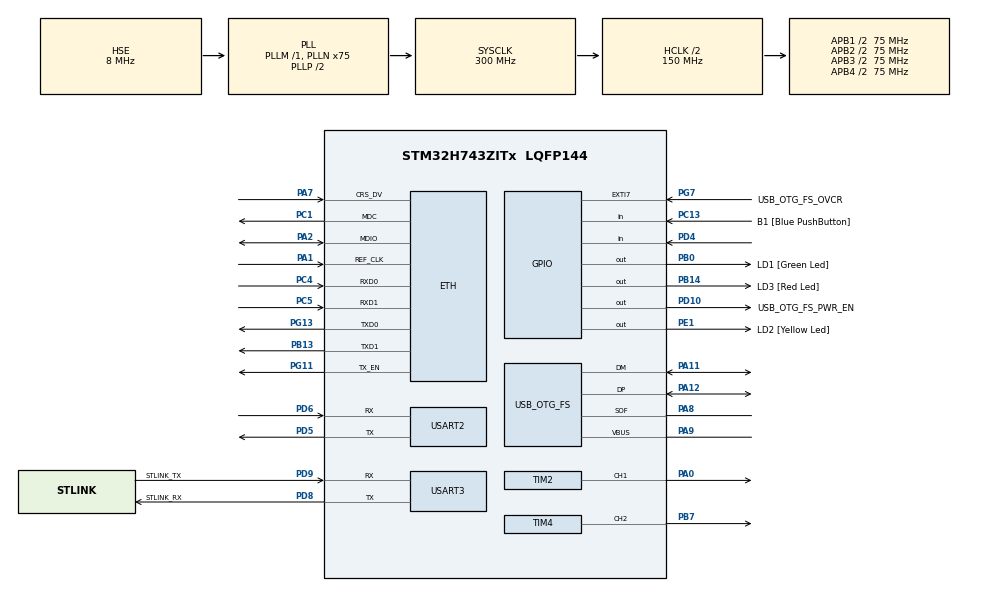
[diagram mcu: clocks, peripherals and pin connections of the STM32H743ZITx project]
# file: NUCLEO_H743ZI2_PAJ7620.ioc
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ETH.MediaInterface=HAL_ETH_RMII_MODE
Mcu.Family=STM32H7
Mcu.Name=STM32H743ZITx
Mcu.Package=LQFP144
NVIC.PriorityGroup=NVIC_PRIORITYGROUP_4
NVIC.USART2_IRQn=true\:0\:0\:false\:false\:true\:true\:true
NVIC.USART3_IRQn=true\:0\:0\:false\:false\:true\:true\:true
PA0.Signal=S_TIM2_CH1
PA1.Mode=RMII
PA1.Signal=ETH_REF_CLK
PA11.Mode=Device_Only
PA11.Signal=USB_OTG_FS_DM
PA12.Mode=Device_Only
PA12.Signal=USB_OTG_FS_DP
PA2.Mode=RMII
PA2.Signal=ETH_MDIO
PA7.Mode=RMII
PA7.Signal=ETH_CRS_DV
PA8.Mode=Activate_SOF_FS
PA8.Signal=USB_OTG_FS_SOF
PA9.Mode=Activate_VBUS
PA9.Signal=USB_OTG_FS_VBUS
PB0.GPIO_Label=LD1 [Green Led]
PB0.Signal=GPIO_Output
PB13.Mode=RMII
PB13.Signal=ETH_TXD1
PB14.GPIO_Label=LD3 [Red Led]
PB14.Signal=GPIO_Output
PB7.Signal=S_TIM4_CH2
PC1.Mode=RMII
PC1.Signal=ETH_MDC
PC13.GPIO_Label=B1 [Blue PushButton]
PC13.GPIO_PuPd=GPIO_PULLDOWN
PC13.Signal=GPIO_Input
PC14-OSC32_IN\ (OSC32_IN).Mode=LSE-External-Oscillator
PC14-OSC32_IN\ (OSC32_IN).Signal=RCC_OSC32_IN
PC15-OSC32_OUT\ (OSC32_OUT).Mode=LSE-External-Oscillator
PC15-OSC32_OUT\ (OSC32_OUT).Signal=RCC_OSC32_OUT
PC4.Mode=RMII
PC4.Signal=ETH_RXD0
PC5.Mode=RMII
PC5.Signal=ETH_RXD1
PD10.GPIO_Label=USB_OTG_FS_PWR_EN
PD10.Signal=GPIO_Output
PD4.Signal=GPIO_Input
PD5.Mode=Asynchronous
PD5.Signal=USART2_TX
PD6.Mode=Asynchronous
PD6.Signal=USART2_RX
PD8.GPIO_Label=STLINK_RX
PD8.Mode=Asynchronous
PD8.Signal=USART3_TX
PD9.GPIO_Label=STLINK_TX
PD9.Mode=Asynchronous
PD9.Signal=USART3_RX
PE1.GPIO_Label=LD2 [Yellow Led]
PE1.Signal=GPIO_Output
PG11.Mode=RMII
PG11.Signal=ETH_TX_EN
PG13.Mode=RMII
PG13.Signal=ETH_TXD0
PG7.GPIO_Label=USB_OTG_FS_OVCR
PG7.Signal=GPXTI7
PH0-OSC_IN\ (PH0).Mode=HSE-External-Clock-Source
PH0-OSC_IN\ (PH0).Signal=RCC_OSC_IN
PH1-OSC_OUT\ (PH1).Signal=RCC_OSC_OUT
ProjectManager.HeapSize=0x200
ProjectManager.StackSize=0x400
ProjectManager.TargetToolchain=MDK-ARM V5.32
RCC.ADCFreq_Value=16125000
RCC.APB1Freq_Value=75000000
RCC.APB2Freq_Value=75000000
RCC.APB3Freq_Value=75000000
RCC.APB4Freq_Value=75000000
RCC.CortexFreq_Value=300000000
RCC.D1PPRE=RCC_APB3_DIV2
RCC.D2PPRE1=RCC_APB1_DIV2
RCC.D2PPRE2=RCC_APB2_DIV2
RCC.D3PPRE=RCC_APB4_DIV2
RCC.DIVM1=1
RCC.DIVN1=75
RCC.DIVQ1=10
RCC.HCLKFreq_Value=150000000
RCC.HPRE=RCC_HCLK_DIV2
RCC.HSE_VALUE=8000000
RCC.PLLFRACN=0
RCC.PWR_Regulator_Voltage_Scale=PWR_REGULATOR_VOLTAGE_SCALE2
RCC.SYSCLKFreq_VALUE=300000000
RCC.SYSCLKSource=RCC_SYSCLKSOURCE_PLLCLK
RCC.USBFreq_Value=60000000
SH.S_TIM2_CH1.0=TIM2_CH1,PWM Generation1 CH1
SH.S_TIM4_CH2.0=TIM4_CH2,PWM Generation2 CH2
TIM2.Channel-PWM\ Generation1\ CH1=TIM_CHANNEL_1
TIM2.Period=187
TIM4.Channel-PWM\ Generation2\ CH2=TIM_CHANNEL_2
TIM4.Period=187
USART2.VirtualMode-Asynchronous=VM_ASYNC
USART3.VirtualMode-Asynchronous=VM_ASYNC
USB_OTG_FS.VirtualMode=Device_Only
VP_TIM2_VS_ClockSourceINT.Mode=Internal
VP_TIM4_VS_ClockSourceINT.Mode=Internal
board=NUCLEO-H743ZI2

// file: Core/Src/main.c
/* USER CODE BEGIN Header */
/**
  ******************************************************************************
  * @file           : main.c
  * @brief          : Main program body
  ******************************************************************************
  * @attention
  *
  * <h2><center>&copy; Copyright (c) 2021 STMicroelectronics.
  * All rights reserved.</center></h2>
  *
  * This software component is licensed by ST under BSD 3-Clause license,
  * the "License"; You may not use this file except in compliance with the
  * License. You may obtain a copy of the License at:
  *                        opensource.org/licenses/BSD-3-Clause
  *
  ******************************************************************************
  */
/* USER CODE END Header */
#include "main.h"
#include "eth.h"
#include "tim.h"
#include "usart.h"
#include "usb_otg.h"
#include "gpio.h"

/* USER CODE BEGIN Includes */
#include "PAJ7620/paj7620.h"
#include "DHT11/dht11.h"
#include "WS2812/ws2812.h"
/* USER CODE END Includes */

/* USER CODE BEGIN PV */
MyUARTHandle uart2, uart3;
uint8_t uartBuf2[100], uartBuf3[100];
WS2812_Dev ws2812Dev1, ws2812Dev2;
uint8_t ledBuf[130];
/* USER CODE END PV */

void SystemClock_Config(void);

/* USER CODE BEGIN 0 */
void CameraLED_Set(uint8_t val)
{
  uint8_t i;
  for(i = 0; i < 12; i++)
    ledBuf[i] = val;
  for(i = 2; i < 12; i += 3) // warmer
    ledBuf[i] = val * 0.7;
  WS2812_Write(&ws2812Dev1, TIM_CHANNEL_2, ledBuf, 12);
}

void StripeLED_Set(uint8_t r, uint8_t g, uint8_t b)
{
  // skip first led
  uint8_t i;
  ledBuf[0] = 0;
  ledBuf[1] = 0;
  ledBuf[2] = 0;
  for(i = 3; i < 129; i += 3)
    ledBuf[i] = g;
  for(i = 4; i < 129; i += 3)
    ledBuf[i] = r;
  for(i = 5; i < 129; i += 3)
    ledBuf[i] = b;
  WS2812_Write(&ws2812Dev2, TIM_CHANNEL_1, ledBuf, 129);
}

void StripeLED_Flow(uint8_t r, uint8_t g, uint8_t b)
{
  // skip first led
  uint8_t i, j;
  for(i = 0; i < 129; i++)
    ledBuf[i] = 0;
  for(i = 0; i < 21; i++)
  {
    ledBuf[(22 - i) * 3 + 0] = ledBuf[(22 - i) * 3 + 1] = ledBuf[(22 - i) * 3 + 2] = 0;
    ledBuf[(21 + i) * 3 + 0] = ledBuf[(21 + i) * 3 + 1] = ledBuf[(21 + i) * 3 + 2] = 0;
    ledBuf[(21 - i) * 3 + 0] = ledBuf[(22 + i) * 3 + 0] = g;
    ledBuf[(21 - i) * 3 + 1] = ledBuf[(22 + i) * 3 + 1] = b;
    ledBuf[(21 - i) * 3 + 2] = ledBuf[(22 + i) * 3 + 2] = r;
    WS2812_Write(&ws2812Dev2, TIM_CHANNEL_1, ledBuf, 129);
    Delay_ms(20);
  }
  ledBuf[3] = ledBuf[4] = ledBuf[5] = 0;
  ledBuf[126] = ledBuf[127] = ledBuf[128] = 0;
  WS2812_Write(&ws2812Dev2, TIM_CHANNEL_1, ledBuf, 129);
}
/* USER CODE END 0 */

int main(void)
{
  /* USER CODE BEGIN 1 */
  uint8_t gesture;
  uint16_t tmp;
  uint8_t str[30];
  uint8_t tempCnt = 0;
  uint8_t pressed = 0;
  uint32_t i, j;
  /* USER CODE END 1 */

  /* MCU Configuration--------------------------------------------------------*/

  /* Reset of all peripherals, Initializes the Flash interface and the Systick. */
  HAL_Init();

  /* Configure the system clock */
  SystemClock_Config();

  /* Initialize all configured peripherals */
  MX_GPIO_Init();
  MX_ETH_Init();
  MX_USART3_UART_Init();
  MX_USB_OTG_FS_PCD_Init();
  MX_USART2_UART_Init();
  MX_TIM2_Init();
  MX_TIM4_Init();
  /* USER CODE BEGIN 2 */
  Delay_Init(300);
  MyUART_SetOStream(USART3);
  MyUART_Init(&uart3, USART3, uartBuf3, 100);
  MyUART_Init(&uart2, USART2, uartBuf2, 100);
  WS2812_Init(&ws2812Dev1, DMA2_Stream5, DMA_REQUEST_TIM4_UP, DMA2_Stream5_IRQn, &htim4);
  WS2812_Init(&ws2812Dev2, DMA2_Stream6, DMA_REQUEST_TIM2_UP, DMA2_Stream6_IRQn, &htim2);
  printf("Init: %d>", PAJ7620_Init(GPIOF, 6, GPIOF, 7));
  Delay_ms(50);
  CameraLED_Set(0);
  Delay_ms(1);
  CameraLED_Set(0);
  StripeLED_Set(0, 0, 0);
  Delay_ms(50);
  CameraLED_Set(0);
  StripeLED_Set(0, 0, 0);
  /* USER CODE END 2 */

  /* Infinite loop */
  while (1)
  {

    /* USER CODE BEGIN 3 */
    Delay_ms(100);

    // gesture
    gesture = PAJ7620_Gesture4();
    if(gesture != 0)
      printf("%x>", gesture);

    // forward
    if(MyUART_ReadUntilWithZero(&uart2, str, '>'))
      printf("%s>", str);

    // temperature
    tempCnt++;
    tempCnt %= 20; // 20 * 100 = 2s
    if(tempCnt == 0)
    {
      DHT11_Refresh();
      printf("t,%.1f,%.1f>", DHT11_GetTemp(), DHT11_GetHumid());
    }
    if(!pressed && HAL_GPIO_ReadPin(B1_GPIO_Port, B1_Pin))
    {
      Delay_ms(15);
      if(HAL_GPIO_ReadPin(B1_GPIO_Port, B1_Pin))
      {
        printf("key>");
        pressed = 1;
      }
    }
    else if(pressed && !HAL_GPIO_ReadPin(B1_GPIO_Port, B1_Pin))
    {
      Delay_ms(15);
      if(!HAL_GPIO_ReadPin(B1_GPIO_Port, B1_Pin))
      {
        pressed = 0;
      }
    }
    if(MyUART_ReadUntilWithZero(&uart3, str, '>'))
    {
      if(str[0] == 'c') // camera light
      {
        if(str[1] == '1')
        {
          i = 1;
          for(; i <= 0x30; i++)
          {
            CameraLED_Set(i);
            Delay_ms(10);
          }
          for(; i <= 0x50; i += 2)
          {
            CameraLED_Set(i);
            Delay_ms(10);
          }
        }
        else
        {
          CameraLED_Set(0);
        }
      }
      else if(str[0] == 's') // stripe
      {
        StripeLED_Set(str[1], str[2], str[3]);
      }
      else if(str[0] == 'f') // stripe flow
      {
        StripeLED_Flow(str[1], str[2], str[3]);
      }
    }
  }
  /* USER CODE END 3 */
}

void SystemClock_Config(void)
{
  RCC_OscInitTypeDef RCC_OscInitStruct = {0};
  RCC_ClkInitTypeDef RCC_ClkInitStruct = {0};

  /** Supply configuration update enable
  */
  HAL_PWREx_ConfigSupply(PWR_LDO_SUPPLY);
  /** Configure the main internal regulator output voltage
  */
  __HAL_PWR_VOLTAGESCALING_CONFIG(PWR_REGULATOR_VOLTAGE_SCALE2);

  while(!__HAL_PWR_GET_FLAG(PWR_FLAG_VOSRDY)) {}
  /** Initializes the RCC Oscillators according to the specified parameters
  * in the RCC_OscInitTypeDef structure.
  */
  RCC_OscInitStruct.OscillatorType = RCC_OSCILLATORTYPE_HSE;
  RCC_OscInitStruct.HSEState = RCC_HSE_BYPASS;
  RCC_OscInitStruct.PLL.PLLState = RCC_PLL_ON;
  RCC_OscInitStruct.PLL.PLLSource = RCC_PLLSOURCE_HSE;
  RCC_OscInitStruct.PLL.PLLM = 1;
  RCC_OscInitStruct.PLL.PLLN = 75;
  RCC_OscInitStruct.PLL.PLLP = 2;
  RCC_OscInitStruct.PLL.PLLQ = 10;
  RCC_OscInitStruct.PLL.PLLR = 2;
  RCC_OscInitStruct.PLL.PLLRGE = RCC_PLL1VCIRANGE_3;
  RCC_OscInitStruct.PLL.PLLVCOSEL = RCC_PLL1VCOWIDE;
  RCC_OscInitStruct.PLL.PLLFRACN = 0;
  if (HAL_RCC_OscConfig(&RCC_OscInitStruct) != HAL_OK)
  {
    Error_Handler();
  }
  /** Initializes the CPU, AHB and APB buses clocks
  */
  RCC_ClkInitStruct.ClockType = RCC_CLOCKTYPE_HCLK|RCC_CLOCKTYPE_SYSCLK
                              |RCC_CLOCKTYPE_PCLK1|RCC_CLOCKTYPE_PCLK2
                              |RCC_CLOCKTYPE_D3PCLK1|RCC_CLOCKTYPE_D1PCLK1;
  RCC_ClkInitStruct.SYSCLKSource = RCC_SYSCLKSOURCE_PLLCLK;
  RCC_ClkInitStruct.SYSCLKDivider = RCC_SYSCLK_DIV1;
  RCC_ClkInitStruct.AHBCLKDivider = RCC_HCLK_DIV2;
  RCC_ClkInitStruct.APB3CLKDivider = RCC_APB3_DIV2;
  RCC_ClkInitStruct.APB1CLKDivider = RCC_APB1_DIV2;
  RCC_ClkInitStruct.APB2CLKDivider = RCC_APB2_DIV2;
  RCC_ClkInitStruct.APB4CLKDivider = RCC_APB4_DIV2;

  if (HAL_RCC_ClockConfig(&RCC_ClkInitStruct, FLASH_LATENCY_2) != HAL_OK)
  {
    Error_Handler();
  }
}

/* USER CODE BEGIN 4 */
void DMA2_Stream5_IRQHandler(void)
{
  WS2812_UpdateBuf();
}
void DMA2_Stream6_IRQHandler(void)
{
  WS2812_UpdateBuf();
}
/* USER CODE END 4 */

void Error_Handler(void)
{
  __disable_irq();
  while (1)
  {
  }
}

/************************ (C) COPYRIGHT STMicroelectronics *****END OF FILE****/
